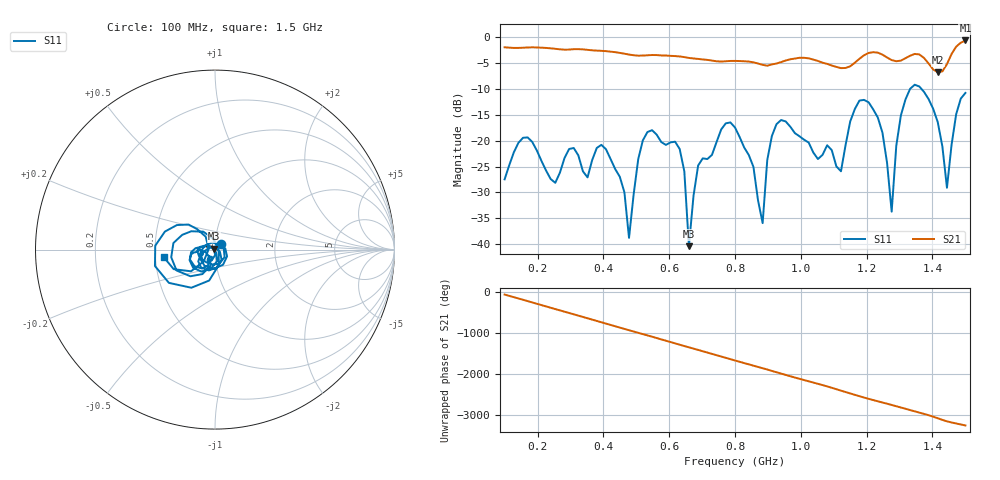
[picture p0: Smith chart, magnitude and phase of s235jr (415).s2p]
! NanoVNA-App
! Date: 2025-09-25 15:07:23
! Start: 100MHz Stop: 1,5GHz Points: 101
! S-Parameter data: F S11 S21 S12 S22
# Hz S RI R 50
!  Frequency  S11_Real  S11_Imag  S21_Real  S21_Imag  S12_Real  S12_Imag  S22_Real  S22_Imag
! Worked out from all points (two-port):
!   101 points, 100 MHz to 1.5 GHz, reference 50 ohm
!   highest |S21| = -0.65 dB at 1.5 GHz (marker M1); lowest = -6.8 dB at 1.416 GHz (marker M2)
!   |S21| within 3 dB of the highest: start of sweep to 612.6 MHz; 1.189 GHz to 1.255 GHz (65.43 MHz wide, 5.35 % of centre) (the widest 2 of 4)
!   lowest |S11| = -40.4 dB at 660 MHz (marker M3), VSWR 1.02, Z = 49.2 + j0.532 ohm
!   |S11| at or under -10 dB: start of sweep to 1.332 GHz; 1.366 GHz to end of sweep
!   S12 and S22 are empty: the file has one direction only
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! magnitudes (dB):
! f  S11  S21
! 100 MHz  -27.5  -2.0
! 156 MHz  -19.4  -2.1
! 338 MHz  -25.9  -2.4
! 408 MHz  -21.7  -2.7
! 478 MHz  -38.8  -3.4
! 520 MHz  -19.9  -3.6
! 576 MHz  -20.3  -3.5
! 632 MHz  -21.6  -3.7
! 660 MHz  -40.4  -4.0
! 688 MHz  -24.8  -4.2
! 800 MHz  -17.5  -4.6
! 884 MHz  -35.9  -5.4
! 926 MHz  -16.8  -5.1
! 1.038 GHz  -22.3  -4.3
! 1.122 GHz  -25.9  -6.0
! 1.206 GHz  -12.6  -3.1
! 1.248 GHz  -18.5  -3.4
! 1.276 GHz  -33.7  -4.4
! 1.332 GHz  -10.0  -3.6
! 1.416 GHz  -16.4  -6.8
! 1.444 GHz  -29.1  -5.2
! 1.5 GHz  -10.8  -0.6
